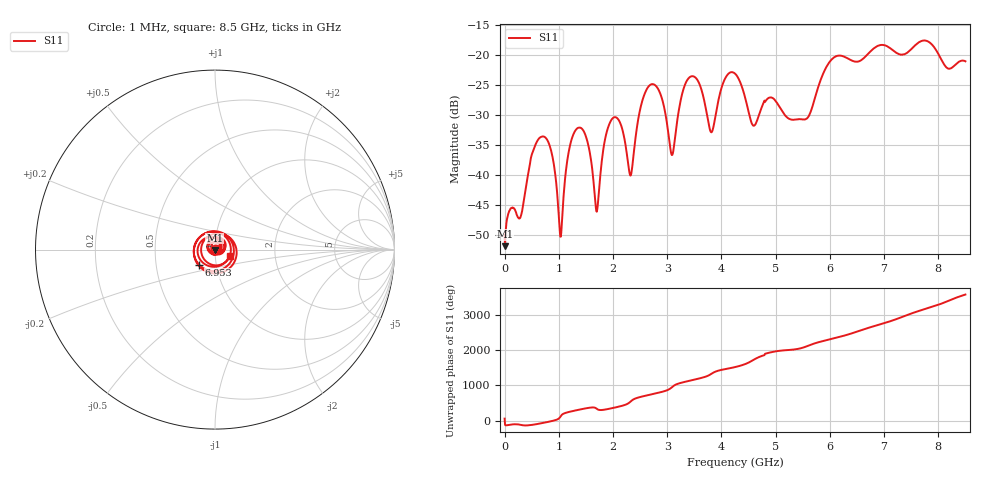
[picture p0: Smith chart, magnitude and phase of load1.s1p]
# Hz S RI R 50
! CMT, S5085, 16077402, 21.3.2/1
! Date: 11/17/2021 5:12:46 PM
! Data: Format (Calibration Info)
! Freq	S11:Re/Im(--)
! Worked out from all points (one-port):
!   1001 points, 1 MHz to 8.5 GHz, reference 50 ohm
!   lowest |S11| = -51.9 dB at 9.499 MHz (marker M1), VSWR 1.01, Z = 49.9 - j0.219 ohm
!   |S11| at or under -10 dB: start of sweep to end of sweep
!   S11 on the Smith chart (normalised r, x): 1 MHz: 1.00, +0.01; 6.953 GHz: 0.83, -0.14; 8.5 GHz: 1.18, -0.08
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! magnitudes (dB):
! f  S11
! 1 MHz  -50.1
! 9.499 MHz  -51.9
! 298.5 MHz  -46.9
! 689.4 MHz  -33.6
! 850.9 MHz  -35.6
! 1.012 GHz  -48.6
! 1.063 GHz  -47.1
! 1.165 GHz  -37.0
! 1.301 GHz  -32.6
! 1.505 GHz  -33.7
! 1.701 GHz  -46.1
! 1.896 GHz  -32.4
! 2.126 GHz  -31.1
! 2.321 GHz  -40.1
! 2.67 GHz  -25.1
! 2.882 GHz  -26.6
! 3.078 GHz  -36.5
! 3.188 GHz  -30.7
! 3.477 GHz  -23.5
! 3.826 GHz  -32.8
! 4.25 GHz  -23.0
! 4.582 GHz  -31.7
! 4.896 GHz  -27.0
! 5.313 GHz  -30.8
! 6.375 GHz  -20.7
! 6.953 GHz  -18.2
! 7.438 GHz  -19.5
! 8.5 GHz  -21.0
